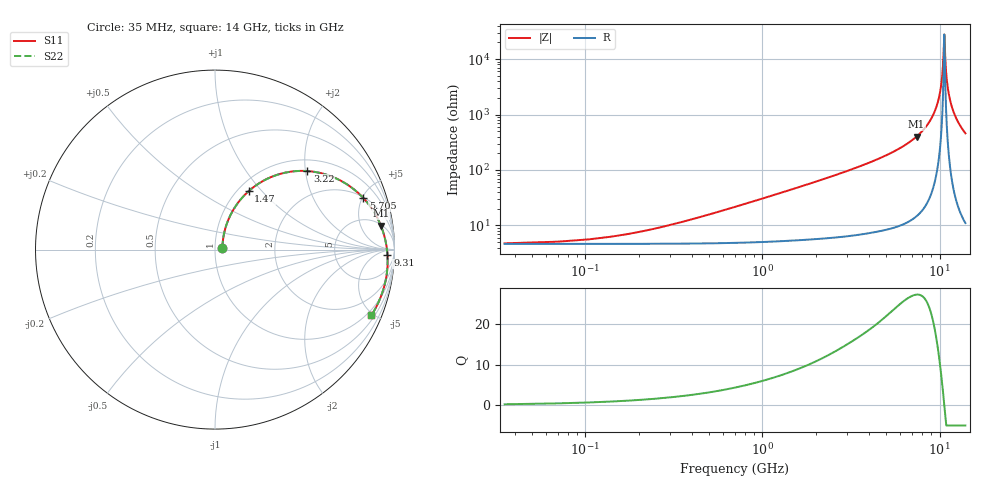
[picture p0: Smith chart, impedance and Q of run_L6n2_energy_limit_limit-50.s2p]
#  Hz  S  RI  R  50
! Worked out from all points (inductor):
!   400 points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, 35 MHz to 14 GHz, reference 50 ohm
!   read as one part in series: L = 4.77 nH near 490 MHz
!   highest Q = 27.3 at 7.42 GHz (marker M1), where L = 8.59 nH
!   self-resonance near 10.64 GHz
!   S11 on the Smith chart (normalised r, x): 35 MHz: 1.09, +0.02; 1.47 GHz: 1.12, +0.85; 3.22 GHz: 1.27, +2.05; 5.705 GHz: 2.08, +5.11; 9.31 GHz: 30, -25; 14 GHz: 0.71, -4.85
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3.5e7  0.0412 0.00907  0.9521 -0.0102  0.9521 -0.0102  0.041 0.00909
3.5e8  0.0506 0.0899  0.9413 -0.1004  0.9413 -0.1004  0.0504 0.09
5.95e8  0.0679 0.1501  0.9214 -0.1671  0.9214 -0.1671  0.0679 0.1502
1.47e9  0.1869 0.325  0.7913 -0.3562  0.7913 -0.3562  0.187 0.3249
2.38e9  0.3585 0.4206  0.6146 -0.4591  0.6146 -0.4591  0.3584 0.4203
3.22e9  0.5151 0.4376  0.4573 -0.4847  0.4573 -0.4847  0.5149 0.4374
4.69e9  0.7283 0.3681  0.2418 -0.4333  0.2418 -0.4333  0.7283 0.3679
5.705e9  0.8271 0.2869  0.1415 -0.3642  0.1415 -0.3642  0.8269 0.2866
7.035e9  0.909 0.168  0.0578 -0.2618  0.0578 -0.2618  0.9088 0.1677
7.42e9  0.9245 0.1331  0.0416 -0.2318  0.0416 -0.2318  0.9243 0.1328
9.31e9  0.9611 -0.0317  0.00167 -0.0906  0.0016 -0.0906  0.9608 -0.032
9.345e9  0.9612 -0.0346  0.00144 -0.0881  0.00137 -0.0881  0.9609 -0.035
9.905e9  0.9617 -0.0807  -9.31e-05 -0.0493  -0.000175 -0.0493  0.9615 -0.0809
1.0255e10  0.9601 -0.1087  0.000824 -0.0259  0.000737 -0.0259  0.9599 -0.1089
1.0465e10  0.9584 -0.1252  0.00202 -0.0121  0.00193 -0.0121  0.9582 -0.1255
1.064e10  0.9566 -0.1388  0.00337 -0.000792  0.00328 -0.000787  0.9565 -0.1391
1.0815e10  0.9545 -0.1522  0.00504 0.0103  0.00494 0.0104  0.9544 -0.1525
1.099e10  0.9521 -0.1654  0.00701 0.0213  0.00691 0.0213  0.952 -0.1658
1.127e10  0.9477 -0.1862  0.0108 0.0385  0.0107 0.0386  0.9475 -0.1866
1.169e10  0.9397 -0.2165  0.0178 0.0636  0.0177 0.0636  0.9394 -0.2169
1.2635e10  0.9166 -0.2812  0.0389 0.1162  0.0388 0.1162  0.9161 -0.2814
1.4e10  0.8704 -0.3667  0.0809 0.183  0.0807 0.1831  0.8706 -0.367
